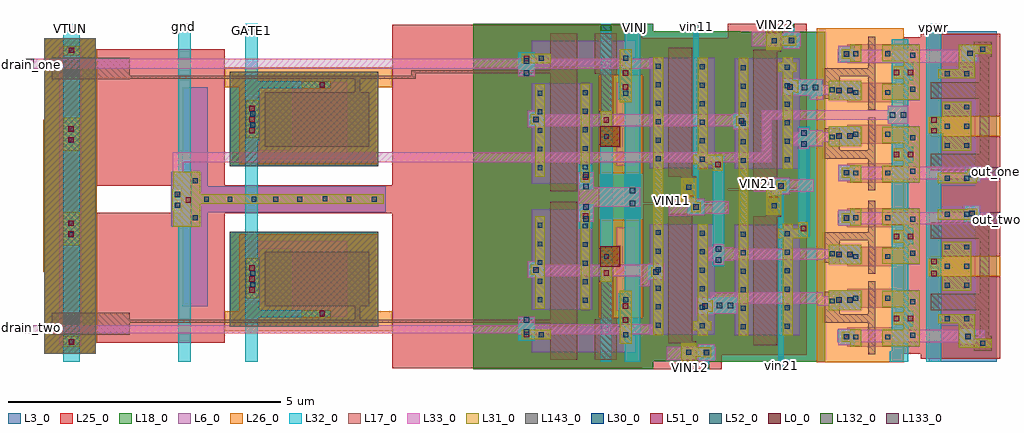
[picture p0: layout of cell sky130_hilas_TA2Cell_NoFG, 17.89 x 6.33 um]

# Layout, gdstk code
from math import pi, radians
import gdstk
lib = gdstk.Library(unit=1e-6, precision=1e-09)
def R(c, l, rs):  # rectangles x0, y0, x1, y1
    for r in rs: c.add(gdstk.rectangle(r[:2], r[2:], *l))
def A(c, l, x, y, w, h, nx, ny, dx, dy):  # array of equal rectangles
    R(c, l, [(x+i*dx, y+j*dy, x+i*dx+w, y+j*dy+h) for i in range(nx) for j in range(ny)])
L0_0 = (0, 0)
L3_0 = (3, 0)
L6_0 = (6, 0)
L17_0 = (17, 0)
L18_0 = (18, 0)
L25_0 = (25, 0)
L26_0 = (26, 0)
L30_0 = (30, 0)
L31_0 = (31, 0)
L32_0 = (32, 0)
L33_0 = (33, 0)
L51_0 = (51, 0)
L52_0 = (52, 0)
L132_0 = (132, 0)
L133_0 = (133, 0)
L143_0 = (143, 0)

sky130_hilas_tuncap01 = lib.new_cell('sky130_hilas_TunCap01')
R(sky130_hilas_tuncap01, L3_0, [(-14.03,-3.87,-13.09,-2.225)])
R(sky130_hilas_tuncap01, L6_0, [(-13.76,-3.71,-13.36,-2.385)])
R(sky130_hilas_tuncap01, L18_0, [(-14.03,-3.87,-13.09,-2.225)])
R(sky130_hilas_tuncap01, L26_0, [(-14.03,-3.87,-13.195,-2.225)])

m1_od_cdns_675983230083 = lib.new_cell('M1_OD_CDNS_675983230083')
R(m1_od_cdns_675983230083, L6_0, [(-0.075,-0.18,0.075,0.18)])
R(m1_od_cdns_675983230083, L30_0, [(-0.045,-0.15,0.045,-0.06), (-0.045,0.06,0.045,0.15)])
R(m1_od_cdns_675983230083, L31_0, [(-0.085,-0.19,0.085,0.19)])

m2_m1_cdns_675983230084 = lib.new_cell('M2_M1_CDNS_675983230084')
R(m2_m1_cdns_675983230084, L31_0, [(-0.09,-0.19,0.09,0.19)])
R(m2_m1_cdns_675983230084, L32_0, [(-0.09,-0.19,0.09,0.19)])
R(m2_m1_cdns_675983230084, L51_0, [(-0.05,-0.15,0.05,-0.05), (-0.05,0.05,0.05,0.15)])

sky130_hilas_wellcontact = lib.new_cell('sky130_hilas_wellContact')
R(sky130_hilas_wellcontact, L3_0, [(-14.125,-4.57,-13.185,-2.84)])
R(sky130_hilas_wellcontact, L6_0, [(-13.855,-4.05,-13.455,-3.31)])
R(sky130_hilas_wellcontact, L18_0, [(-14.125,-4.57,-13.185,-2.84)])
R(sky130_hilas_wellcontact, L26_0, [(-13.96,-4.175,-13.345,-3.185)])
R(sky130_hilas_wellcontact, L31_0, [(-13.78,-4,-13.48,-3.395)])
R(sky130_hilas_wellcontact, L32_0, [(-13.78,-4.515,-13.48,-2.84)])
sky130_hilas_wellcontact.add(gdstk.Reference(m1_od_cdns_675983230083, (-13.635,-3.7)))
sky130_hilas_wellcontact.add(gdstk.Reference(m2_m1_cdns_675983230084, (-13.635,-3.695)))

m2_m1_cdns_675983230085 = lib.new_cell('M2_M1_CDNS_675983230085')
R(m2_m1_cdns_675983230085, L31_0, [(-0.09,-0.29,0.09,0.29)])
R(m2_m1_cdns_675983230085, L32_0, [(-0.09,-0.29,0.09,0.29)])
A(m2_m1_cdns_675983230085, L51_0, -0.05, -0.25, 0.1, 0.1, 1, 3, 0, 0.2)

sky130_hilas_fgvaractorc = lib.new_cell('sky130_hilas_FGVaractorCapacitor02')
R(sky130_hilas_fgvaractorc, L3_0, [(-10.05,-3.8,-7.33,-2.065)])
R(sky130_hilas_fgvaractorc, L6_0, [(-8.9,-3.62,-7.9,-2.375), (-9.72,-3.37,-9.5,-2.375), (-9.72,-2.375,-7.9,-2.225)])
R(sky130_hilas_fgvaractorc, L17_0, [(-9.41,-3.425,-7.49,-2.425)])
R(sky130_hilas_fgvaractorc, L18_0, [(-10.05,-3.8,-7.33,-2.065)])
R(sky130_hilas_fgvaractorc, L26_0, [(-9.88,-3.64,-7.33,-2.105)])
R(sky130_hilas_fgvaractorc, L30_0, [(-8.4,-3.605,-8.31,-3.515)])
R(sky130_hilas_fgvaractorc, L31_0, [(-8.73,-3.63,-8.2,-3.495), (-9.75,-3.28,-9.52,-2.59)])
R(sky130_hilas_fgvaractorc, L32_0, [(-9.77,-3.63,-9.51,-3.31), (-9.765,-3.63,-8.2,-3.495), (-9.77,-3.33,-9.51,-2.54)])
R(sky130_hilas_fgvaractorc, L51_0, [(-8.405,-3.61,-8.305,-3.51)])
R(sky130_hilas_fgvaractorc, L143_0, [(-10.05,-3.8,-7.33,-2.065)])
sky130_hilas_fgvaractorc.add(gdstk.Reference(m1_od_cdns_675983230083, (-9.63,-2.93)))
sky130_hilas_fgvaractorc.add(gdstk.Reference(m2_m1_cdns_675983230085, (-9.64,-2.925)))

sky130_hilas_horiztransc = lib.new_cell('sky130_hilas_horizTransCell01')
R(sky130_hilas_horiztransc, L0_0, [(-1.3,2.21,-0.93,2.58)])
R(sky130_hilas_horiztransc, L3_0, [(-3.63,0.33,-0.33,3.59)])
R(sky130_hilas_horiztransc, L6_0, [(-2.56,0.64,-0.66,1.11), (-0.995,1.4,-0.665,2.935), (-2.56,1.42,-1.45,3.26)])
R(sky130_hilas_horiztransc, L17_0, [(-2.22,0.5,-1.72,1.23), (-1.4,0.5,-1,1.25), (-4.76,1.18,-1.72,1.24), (-2.22,1.205,-1.72,3.4), (-1.29,1.25,-1,1.27), (-1.29,1.27,-1.06,1.93), (-1.33,1.93,-1.06,2.22), (-1.33,2.22,-1.06,2.56)])
R(sky130_hilas_horiztransc, L25_0, [(-5.115,0.35,-0.53,1.27), (-5.115,1.27,-1.32,3.55)])
R(sky130_hilas_horiztransc, L26_0, [(-1.32,1.27,-0.535,3.065)])
A(sky130_hilas_horiztransc, L30_0, -1.62, 1.55, 0.09, 0.09, 1, 5, 0, 0.34)
A(sky130_hilas_horiztransc, L30_0, -2.45, 1.56, 0.09, 0.09, 1, 5, 0, 0.34)
R(sky130_hilas_horiztransc, L30_0, [(-2.425,0.92,-2.335,1.01), (-0.875,0.92,-0.785,1.01), (-0.875,1.555,-0.785,1.645), (-1.23,2.35,-1.14,2.44)])
R(sky130_hilas_horiztransc, L31_0, [(-0.94,0.8,-0.72,1.15), (-2.74,0.88,-2.21,1.05), (-0.94,1.15,-0.72,1.18), (-0.94,1.18,-0.72,1.76), (-1.66,1.43,-1.49,3.04), (-2.49,1.44,-2.32,3.13), (-0.94,1.76,-0.72,1.77), (-1.29,1.93,-1.09,1.94), (-1.29,1.94,-1.09,2.23), (-1.3,2.23,-1.06,2.56), (-1.66,3.04,-1.49,3.23)])
R(sky130_hilas_horiztransc, L32_0, [(-1.29,0.48,-1.1,1.93), (-0.85,0.48,-0.68,1.12), (-2.8,0.85,-2.5,1.29), (-0.96,1.12,-0.68,1.67), (-0.96,1.67,-0.68,1.72), (-0.85,1.72,-0.68,1.81), (-0.85,1.81,-0.68,3.5), (-1.29,1.93,-1.06,1.96), (-1.31,1.96,-1.06,2.23), (-1.3,2.23,-1.06,2.24), (-1.3,2.24,-1.07,2.48), (-1.3,2.48,-1.07,3.5), (-1.69,2.91,-1.45,3.29)])
R(sky130_hilas_horiztransc, L33_0, [(-2.8,0.96,-2.5,0.97), (-2.8,0.97,-0.33,1.15), (-2.8,1.15,-2.5,1.29)])
R(sky130_hilas_horiztransc, L51_0, [(-2.7,0.915,-2.6,1.015), (-0.885,1.185,-0.785,1.285), (-0.885,1.435,-0.785,1.535), (-1.24,2.045,-1.14,2.145), (-1.62,3.085,-1.52,3.185)])
R(sky130_hilas_horiztransc, L52_0, [(-2.7,0.965,-2.6,1.065), (-2.7,1.185,-2.6,1.285)])

m2_m1_cdns_675983230086 = lib.new_cell('M2_M1_CDNS_675983230086')
R(m2_m1_cdns_675983230086, L31_0, [(-0.09,-0.09,0.09,0.09)])
R(m2_m1_cdns_675983230086, L32_0, [(-0.115,-0.115,0.115,0.115)])
R(m2_m1_cdns_675983230086, L51_0, [(-0.05,-0.05,0.05,0.05)])

m3_m2_cdns_675983230087 = lib.new_cell('M3_M2_CDNS_675983230087')
R(m3_m2_cdns_675983230087, L32_0, [(-0.115,-0.115,0.115,0.115)])
R(m3_m2_cdns_675983230087, L33_0, [(-0.09,-0.09,0.09,0.09)])
R(m3_m2_cdns_675983230087, L52_0, [(-0.05,-0.05,0.05,0.05)])

sky130_hilas_li2m2 = lib.new_cell('sky130_hilas_li2m2')
R(sky130_hilas_li2m2, L32_0, [(-0.11,-0.125,0.19,0.175)])
R(sky130_hilas_li2m2, L33_0, [(-0.11,-0.125,0.19,0.175)])
sky130_hilas_li2m2.add(gdstk.Reference(m2_m1_cdns_675983230086, (0.04,0.02)))
sky130_hilas_li2m2.add(gdstk.Reference(m3_m2_cdns_675983230087, (0.04,0.02)))

sky130_hilas_fgbias2x1ce = lib.new_cell('sky130_hilas_FGBias2x1cell')
R(sky130_hilas_fgbias2x1ce, L3_0, [(-3.445,-2.42,-2.8,0), (6.61,2.19,6.8,2.22), (4.27,2.22,7.57,2.23)])
R(sky130_hilas_fgbias2x1ce, L6_0, [(5.38,-2.825,6.38,-1.07), (-1.06,-2.81,-0.59,-0.97), (-3.315,-2.42,-2.915,0), (-0.95,-1.08,2.67,-0.61), (-1.06,-0.72,-0.59,1.21)])
R(sky130_hilas_fgbias2x1ce, L17_0, [(-3.455,-3.325,-2.025,-2.925), (-3.15,-3.11,3.31,-3.05), (2.1,-3.095,2.2,-2.175), (2.1,0.485,2.2,1.42), (-3.455,1.35,-2.025,1.75), (-2.31,1.36,3.215,1.42), (3.14,1.36,3.215,1.52)])
R(sky130_hilas_fgbias2x1ce, L18_0, [(4.27,-3.96,7.57,2.37), (-3.585,-2.055,-2.645,-1.985)])
R(sky130_hilas_fgbias2x1ce, L25_0, [(-2.625,-3.475,-0.28,-1.095), (-1.08,-1.1,3.025,-0.59), (-2.625,-0.595,-0.28,1.9)])
R(sky130_hilas_fgbias2x1ce, L26_0, [(-2.75,-3.475,-2.625,-2.17), (-3.18,-2.545,-3,-2.155), (-2.75,-2.17,-2.645,-2.035), (-2.645,-2.17,-2.625,0.605), (-3.18,-2.155,-3,-1.865), (-3.585,-2.035,-2.645,0.46), (-3.18,-1.865,-3,0.125), (-2.75,0.46,-2.645,0.605), (-2.75,0.605,-2.625,1.9)])
R(sky130_hilas_fgbias2x1ce, L30_0, [(-0.87,-1.23,-0.78,-1.14), (-0.66,-0.89,-0.57,-0.8), (-0.23,-0.89,-0.14,-0.8), (0.21,-0.89,0.3,-0.8), (0.61,-0.89,0.7,-0.8), (1.05,-0.89,1.14,-0.8), (1.95,-0.89,2.04,-0.8), (2.41,-0.89,2.5,-0.8), (1.51,-0.88,1.6,-0.79), (-0.87,-0.55,-0.78,-0.46)])
R(sky130_hilas_fgbias2x1ce, L31_0, [(0.11,-1.97,0.34,-1.93), (-0.92,-1.35,-0.73,-0.93), (-1.11,-0.97,-0.92,-0.74), (-0.92,-0.93,2.63,-0.75), (-0.92,-0.75,-0.73,-0.34)])
R(sky130_hilas_fgbias2x1ce, L32_0, [(-3.24,-3.82,-2.94,2.23), (-1.13,-3.82,-0.9,2.23), (0.09,-3.82,0.32,2.23), (6.61,-3.82,6.8,-3.77), (7.05,-3.82,7.33,2.23), (6.2,-1.26,6.48,-0.94), (-1.13,-1,-0.9,-0.71), (7.05,-0.94,7.33,-0.62), (6.2,-0.66,6.48,-0.34), (6.61,2.19,6.8,2.23)])
R(sky130_hilas_fgbias2x1ce, L33_0, [(-3.96,-3.3,5.14,-3.2), (-3.96,-3.2,5.26,-3.15), (5.1,-3.15,5.26,-3.13), (5.53,-2.26,7.57,-2.05), (6.2,-1.26,6.48,-0.95), (6.2,-0.98,7.33,-0.63), (7.05,-0.91,7.33,-0.63), (6.2,-0.63,6.48,-0.35), (5.51,0.49,7.57,0.71), (-3.96,1.55,5.16,1.73)])
R(sky130_hilas_fgbias2x1ce, L51_0, [(-1,-0.905,-0.9,-0.805)])
R(sky130_hilas_fgbias2x1ce, L52_0, [(6.29,-1.26,6.39,-1.16), (6.29,-1.04,6.39,-0.94), (7.14,-0.975,7.24,-0.875), (7.14,-0.735,7.24,-0.635), (6.29,-0.66,6.39,-0.56), (6.29,-0.455,6.39,-0.355)])
sky130_hilas_fgbias2x1ce.add(gdstk.Reference(sky130_hilas_tuncap01, (10.445,0.19)))
sky130_hilas_fgbias2x1ce.add(gdstk.Reference(sky130_hilas_tuncap01, (10.445,4.33)))
sky130_hilas_fgbias2x1ce.add(gdstk.Reference(sky130_hilas_wellcontact, (10.54,2.31)))
sky130_hilas_fgbias2x1ce.add(gdstk.Reference(sky130_hilas_wellcontact, (10.54,4.04)))
sky130_hilas_fgbias2x1ce.add(gdstk.Reference(sky130_hilas_fgvaractorc, (9.86,0.62)))
sky130_hilas_fgbias2x1ce.add(gdstk.Reference(sky130_hilas_fgvaractorc, (9.86,-2.31), x_reflection=True))
sky130_hilas_fgbias2x1ce.add(gdstk.Reference(sky130_hilas_horiztransc, (7.9,-4.29)))
sky130_hilas_fgbias2x1ce.add(gdstk.Reference(sky130_hilas_horiztransc, (7.9,2.7), x_reflection=True))
sky130_hilas_fgbias2x1ce.add(gdstk.Reference(sky130_hilas_li2m2, (5.38,0.6)))
sky130_hilas_fgbias2x1ce.add(gdstk.Reference(sky130_hilas_li2m2, (5.38,-2.16)))

sky130_hilas_ptransistor = lib.new_cell('sky130_hilas_pTransistorVert01')
R(sky130_hilas_ptransistor, L3_0, [(-3.765,-4.44,-1.63,-1.45)])
R(sky130_hilas_ptransistor, L6_0, [(-3.29,-3.96,-2.1,-1.93), (-3.245,-3.925,-2.165,-1.975)])
R(sky130_hilas_ptransistor, L17_0, [(-2.95,-4.11,-2.51,-1.75)])
R(sky130_hilas_ptransistor, L25_0, [(-3.42,-4.59,-1.97,-1.57)])
A(sky130_hilas_ptransistor, L30_0, -2.37, -3.84, 0.09, 0.09, 1, 6, 0, 0.34)
A(sky130_hilas_ptransistor, L30_0, -3.18, -3.83, 0.09, 0.09, 1, 6, 0, 0.34)
R(sky130_hilas_ptransistor, L31_0, [(-2.41,-3.98,-2.23,-1.93), (-3.22,-3.97,-3.04,-1.92), (-2.49,-3.88,-2.16,-3.71), (-2.41,-3.71,-2.24,-1.93)])

m3_m2_cdns_675983230082 = lib.new_cell('M3_M2_CDNS_675983230082')
R(m3_m2_cdns_675983230082, L32_0, [(-0.19,-0.09,0.19,0.09)])
R(m3_m2_cdns_675983230082, L33_0, [(-0.19,-0.09,0.19,0.09)])
R(m3_m2_cdns_675983230082, L52_0, [(-0.15,-0.05,-0.05,0.05), (0.05,-0.05,0.15,0.05)])

m3_m2_cdns_675983230088 = lib.new_cell('M3_M2_CDNS_675983230088')
R(m3_m2_cdns_675983230088, L32_0, [(-0.09,-0.19,0.09,0.19)])
R(m3_m2_cdns_675983230088, L33_0, [(-0.09,-0.19,0.09,0.19)])
R(m3_m2_cdns_675983230088, L52_0, [(-0.05,-0.15,0.05,-0.05), (-0.05,0.05,0.05,0.15)])

c_sky130_hilas_ptransistor = lib.new_cell('sky130_hilas_pTransistorPair')
R(c_sky130_hilas_ptransistor, L3_0, [(2.67,-1.69,3.12,-1.46), (1.195,-1.4,3.33,-1.33)])
R(c_sky130_hilas_ptransistor, L17_0, [(2.25,-4.395,2.52,-4.025), (2.27,-4.07,2.48,-4.06), (2.25,-1.37,2.52,-1)])
R(c_sky130_hilas_ptransistor, L18_0, [(1.195,-4.39,3.33,1.65)])
R(c_sky130_hilas_ptransistor, L30_0, [(2.345,-4.275,2.435,-4.185), (2.345,-1.25,2.435,-1.16)])
R(c_sky130_hilas_ptransistor, L31_0, [(2.25,-4.485,2.52,-4.355), (2.25,-4.395,2.52,-4.065), (2.49,-4.31,2.655,-4.135), (2.73,-3.49,2.83,-3.465), (2.55,-3.465,2.83,-3.29), (2.79,-3.29,2.83,-3.28), (1.74,-1.92,1.92,-0.86), (2.25,-1.525,2.52,-1.33), (2.25,-1.37,2.52,-1.04), (2.83,-0.9,3.01,-0.67), (2.79,-0.78,2.87,-0.7), (2.79,-0.7,3.01,-0.61)])
R(c_sky130_hilas_ptransistor, L32_0, [(2.84,-3.525,3.27,-3.225), (2.83,-2.65,3.04,-0.88), (2.83,-2.54,3.04,-2.22), (2.83,-0.93,3.04,-0.64)])
R(c_sky130_hilas_ptransistor, L33_0, [(2.01,-4.37,2.88,-4.13), (2.55,-3.525,3.27,-3.225), (2.73,-2.555,3.2,-2.305), (2.83,-2.555,3.065,-2.305), (2.25,-1.69,3.12,-1.46)])
R(c_sky130_hilas_ptransistor, L51_0, [(2.875,-0.835,2.975,-0.735)])
c_sky130_hilas_ptransistor.add(gdstk.Reference(sky130_hilas_li2m2, (1.75,-2.78)))
c_sky130_hilas_ptransistor.add(gdstk.Reference(sky130_hilas_li2m2, (2.75,-4.21), rotation=pi))
c_sky130_hilas_ptransistor.add(gdstk.Reference(sky130_hilas_li2m2, (2.48,-1.59)))
c_sky130_hilas_ptransistor.add(gdstk.Reference(sky130_hilas_li2m2, (2.72,-3.365), rotation=pi))
c_sky130_hilas_ptransistor.add(gdstk.Reference(sky130_hilas_ptransistor, (4.96,0.05)))
c_sky130_hilas_ptransistor.add(gdstk.Reference(sky130_hilas_ptransistor, (4.96,3.1)))
c_sky130_hilas_ptransistor.add(gdstk.Reference(m3_m2_cdns_675983230082, (3.05,-3.375)))
c_sky130_hilas_ptransistor.add(gdstk.Reference(m3_m2_cdns_675983230088, (2.935,-2.44)))

sky130_hilas_pfetmirror0 = lib.new_cell('sky130_hilas_pFETmirror02')
R(sky130_hilas_pfetmirror0, L3_0, [(-0.58,0.89,0.67,3.73)])
R(sky130_hilas_pfetmirror0, L6_0, [(-0.4,1.36,0.28,2.24), (-0.4,2.24,0.28,2.65), (-0.4,2.65,0.28,3.54)])
R(sky130_hilas_pfetmirror0, L17_0, [(0.25,0.9,0.58,1.17), (0.36,1.12,0.53,1.64), (-0.54,1.64,0.53,1.94), (0.36,1.94,0.53,2.95), (-0.54,2.95,0.53,3.25)])
R(sky130_hilas_pfetmirror0, L25_0, [(-0.72,0.75,0.73,2.26), (-0.72,2.63,0.73,3.67)])
R(sky130_hilas_pfetmirror0, L26_0, [(-0.54,2.26,0.73,2.63)])
R(sky130_hilas_pfetmirror0, L30_0, [(0.37,0.99,0.46,1.08), (-0.285,1.44,-0.195,1.53), (0.075,1.44,0.165,1.53), (-0.285,2.05,-0.195,2.14), (0.075,2.05,0.165,2.14), (-0.285,2.4,-0.195,2.49), (0.075,2.4,0.165,2.49), (-0.285,2.755,-0.195,2.845), (0.075,2.755,0.165,2.845), (-0.285,3.355,-0.195,3.445), (0.075,3.355,0.165,3.445)])
R(sky130_hilas_pfetmirror0, L31_0, [(-0.03,0.95,0.27,1.12), (0.25,0.95,0.58,1.12), (-0.03,1.12,0.27,1.4), (-0.4,1.4,0.27,1.57), (-0.325,2,0.205,2.895), (-0.41,3.3,0.295,3.49)])

sky130_hilas_nfet03 = lib.new_cell('sky130_hilas_nFET03')
R(sky130_hilas_nfet03, L6_0, [(-0.31,-0.06,0.58,0.29), (0.1,0,0.4,0.2)])
R(sky130_hilas_nfet03, L17_0, [(0.07,-0.2,0.2,0.43), (0.1,0.1,0.2,0.2)])
R(sky130_hilas_nfet03, L26_0, [(-0.44,-0.36,0.725,0.58)])
R(sky130_hilas_nfet03, L30_0, [(-0.205,0.07,-0.115,0.16), (0.385,0.07,0.475,0.16)])
R(sky130_hilas_nfet03, L31_0, [(-0.26,-0.03,-0.06,0.28), (0.33,-0.02,0.53,0.28), (-0.2,0.1,-0.1,0.2), (0.4,0.1,0.5,0.2)])
sky130_hilas_nfet03.add(gdstk.Label('VGND', (0.5,-0.7), layer=6, texttype=0))
sky130_hilas_nfet03.add(gdstk.Label('GATE', (0.1,0.5), layer=17, texttype=0))
sky130_hilas_nfet03.add(gdstk.Label('SOURCE', (0.9,0.4), layer=31, texttype=0))
sky130_hilas_nfet03.add(gdstk.Label('DRAIN', (-0.6,0.4), layer=31, texttype=0))

m2_m1_cdns_675983230089 = lib.new_cell('M2_M1_CDNS_675983230089')
R(m2_m1_cdns_675983230089, L31_0, [(-0.19,-0.09,0.19,0.09)])
R(m2_m1_cdns_675983230089, L32_0, [(-0.19,-0.09,0.19,0.09)])
R(m2_m1_cdns_675983230089, L51_0, [(-0.15,-0.05,-0.05,0.05), (0.05,-0.05,0.15,0.05)])

sky130_hilas_nmirror03 = lib.new_cell('sky130_hilas_nMirror03')
R(sky130_hilas_nmirror03, L6_0, [(-0.045,0.07,0.995,0.08), (0.99,0.07,1.28,1.1), (0.84,0.08,0.99,1.09), (-0.045,1.09,0.995,1.1)])
R(sky130_hilas_nmirror03, L17_0, [(0.335,-0.07,0.465,-0.05), (0.335,0.07,0.465,0.08), (-0.46,0.1,-0.19,0.43), (-0.46,0.43,-0.19,0.51), (-0.46,0.51,0.285,0.56), (-0.46,0.51,0.465,0.66), (0.335,1.09,0.465,1.1), (0.335,1.22,0.465,1.24)])
R(sky130_hilas_nmirror03, L25_0, [(0.99,-0.06,1.3,1.23)])
R(sky130_hilas_nmirror03, L26_0, [(-0.61,-0.22,-0.175,1.39), (-0.175,-0.055,0.99,0.205), (0.715,0.205,0.99,0.555), (-0.175,0.555,0.99,0.615), (0.715,0.615,0.99,0.965), (-0.175,0.965,0.99,1.225)])
R(sky130_hilas_nmirror03, L30_0, [(-0.37,0.22,-0.28,0.31), (1.105,0.23,1.195,0.32), (1.105,0.85,1.195,0.94)])
R(sky130_hilas_nmirror03, L31_0, [(-0.385,0.07,0.205,0.43), (0.79,0.08,1.28,0.38), (-0.385,0.1,-0.165,0.43), (0.99,0.12,1.28,1.09), (0.8,0.47,0.99,0.7), (0.79,0.79,1.28,1.09)])
R(sky130_hilas_nmirror03, L32_0, [(-0.385,0.07,0.205,0.43), (0.78,0.44,1.16,0.74), (0.78,0.44,1.08,0.74)])
R(sky130_hilas_nmirror03, L33_0, [(-0.385,0.07,0.205,0.43), (-0.59,0.175,-0.22,0.35)])
R(sky130_hilas_nmirror03, L51_0, [(0.8,0.535,0.9,0.635), (1.06,0.535,1.16,0.635)])
sky130_hilas_nmirror03.add(gdstk.Reference(sky130_hilas_li2m2, (-0.1,0.9)))
sky130_hilas_nmirror03.add(gdstk.Reference(sky130_hilas_nfet03, (0.265,0.81)))
sky130_hilas_nmirror03.add(gdstk.Reference(sky130_hilas_nfet03, (0.265,0.1)))
sky130_hilas_nmirror03.add(gdstk.Reference(m2_m1_cdns_675983230089, (-0.1,0.25)))
sky130_hilas_nmirror03.add(gdstk.Reference(m3_m2_cdns_675983230082, (-0.1,0.25)))

sky130_hilas_dualtacore0 = lib.new_cell('sky130_hilas_DualTACore01')
R(sky130_hilas_dualtacore0, L25_0, [(0.265,0.125,0.34,1.025), (-0.15,1.025,0.34,1.245), (0.16,1.245,0.34,2.525), (-0.15,2.525,0.355,2.555), (-0.15,2.555,1.61,2.685), (-0.15,2.685,0.355,2.745), (0.16,2.745,0.34,4.025), (-0.15,4.025,0.34,4.245), (0.265,4.245,0.34,5.115)])
A(sky130_hilas_dualtacore0, L26_0, -1.315, 1.025, 1.165, 0.22, 1, 3, 0, 1.5)
R(sky130_hilas_dualtacore0, L31_0, [(0.305,1.15,0.59,1.47), (0.305,3.77,0.57,4.07)])
R(sky130_hilas_dualtacore0, L32_0, [(-0.37,-0.22,-0.07,5.5), (0.26,-0.21,0.53,5.49), (0.285,1.15,0.515,1.47), (0.285,3.77,0.515,4.07)])
R(sky130_hilas_dualtacore0, L33_0, [(-1.37,-0.06,1.34,0.17), (-1.36,2.11,1.55,2.33), (-1.1,2.93,1.55,3.16), (-1.36,5.07,1.19,5.3)])
R(sky130_hilas_dualtacore0, L51_0, [(0.35,1.15,0.45,1.25), (0.35,1.37,0.45,1.47), (0.35,3.77,0.45,3.87), (0.35,3.97,0.45,4.07)])
sky130_hilas_dualtacore0.add(gdstk.Reference(sky130_hilas_li2m2, (1.07,3)))
sky130_hilas_dualtacore0.add(gdstk.Reference(sky130_hilas_li2m2, (1.02,5.22)))
sky130_hilas_dualtacore0.add(gdstk.Reference(sky130_hilas_li2m2, (1.06,2.28)))
sky130_hilas_dualtacore0.add(gdstk.Reference(sky130_hilas_li2m2, (0.98,0.03)))
sky130_hilas_dualtacore0.add(gdstk.Reference(sky130_hilas_pfetmirror0, (0.88,6.35), x_reflection=True))
sky130_hilas_dualtacore0.add(gdstk.Reference(sky130_hilas_pfetmirror0, (0.88,-1.11)))
sky130_hilas_dualtacore0.add(gdstk.Reference(sky130_hilas_nmirror03, (-1.14,4.305)))
sky130_hilas_dualtacore0.add(gdstk.Reference(sky130_hilas_nmirror03, (-1.14,3.97), x_reflection=True))
sky130_hilas_dualtacore0.add(gdstk.Reference(sky130_hilas_nmirror03, (-1.14,1.3)))
sky130_hilas_dualtacore0.add(gdstk.Reference(sky130_hilas_nmirror03, (-1.14,0.965), x_reflection=True))

m2_m1_cdns_675983230080 = lib.new_cell('M2_M1_CDNS_675983230080')
R(m2_m1_cdns_675983230080, L31_0, [(-0.09,-0.19,0.09,0.19)])
R(m2_m1_cdns_675983230080, L32_0, [(-0.115,-0.215,0.115,0.215)])
R(m2_m1_cdns_675983230080, L51_0, [(-0.05,-0.15,0.05,-0.05), (-0.05,0.05,0.05,0.15)])

m3_m2_cdns_675983230081 = lib.new_cell('M3_M2_CDNS_675983230081')
R(m3_m2_cdns_675983230081, L32_0, [(-0.115,-0.215,0.115,0.215)])
R(m3_m2_cdns_675983230081, L33_0, [(-0.09,-0.19,0.09,0.19)])
R(m3_m2_cdns_675983230081, L52_0, [(-0.05,-0.15,0.05,-0.05), (-0.05,0.05,0.05,0.15)])

sky130_hilas_ta2cell_nof = lib.new_cell('sky130_hilas_TA2Cell_NoFG')
R(sky130_hilas_ta2cell_nof, L3_0, [(16.575,0.14,17.825,0.33), (11.815,2.84,12.095,3.08), (11.355,4.45,13.015,4.67), (16.575,6.01,17.825,6.19)])
R(sky130_hilas_ta2cell_nof, L25_0, [(11.235,0.02,11.335,0.94), (12.785,0.26,12.895,6.07), (11.235,5.39,11.335,6.07)])
R(sky130_hilas_ta2cell_nof, L26_0, [(1.21,0.28,1.315,0.485), (3.68,0.7,6.745,1.06), (0.355,1.79,1.26,1.85), (1.21,1.79,1.315,5.855), (0.355,1.85,1.26,4.46), (0.355,4.46,1.21,4.57), (3.68,5.17,6.745,5.53), (1.21,5.855,1.315,6.065)])
R(sky130_hilas_ta2cell_nof, L30_0, [(0.825,0.455,0.915,0.545), (0.825,5.8,0.915,5.89)])
R(sky130_hilas_ta2cell_nof, L31_0, [(12.045,0.055,12.315,0.14), (0.72,0.41,1.02,0.6), (2.735,2.61,3.195,3.62), (17.45,3.41,17.455,3.465), (14.085,5.255,14.185,5.295), (0.72,5.75,1.02,5.915), (13.605,6.14,13.875,6.27)])
R(sky130_hilas_ta2cell_nof, L32_0, [(15.865,0.14,16.205,0.33), (16.535,0.14,16.805,0.35), (2.695,2.61,3.075,3.62), (15.825,4.5,16.2,4.83), (15.905,4.53,16.165,4.79), (0.72,5.945,1.02,6.33), (11.015,5.975,11.285,6.175), (16.535,6.04,16.805,6.19), (10.57,6.05,10.76,6.19), (16.535,6.06,16.805,6.19), (4.05,6.075,4.28,6.33), (2.83,6.19,3.06,6.33), (10.57,6.19,10.76,6.33), (11.01,6.19,11.29,6.33), (16.535,6.19,16.805,6.33)])
R(sky130_hilas_ta2cell_nof, L33_0, [(11.775,0.16,12.035,0.41), (0,0.66,0.09,0.81), (0,0.66,0.06,0.81), (12.575,1.2,14.635,1.41), (11.295,1.52,11.455,1.92), (12.865,2.01,14.635,2.21), (2.705,2.62,3.055,3.61), (17.675,2.66,17.815,2.88), (17.675,2.66,17.885,2.88), (11.815,2.81,12.145,3.08), (11.82,2.81,12.07,3.08), (13.375,3.25,13.625,3.48), (13.38,3.25,13.61,3.48), (17.675,3.48,17.885,3.7), (17.675,3.48,17.82,3.705), (2.725,3.61,2.915,3.79), (2.725,3.79,13.705,3.98), (13.515,3.98,13.705,4.57), (14.38,4.09,14.635,4.38), (11.355,4.45,13.015,4.67), (15.825,4.5,16.205,4.57), (13.515,4.57,16.205,4.75), (15.825,4.75,16.205,4.83), (14.395,4.94,14.645,5.315), (0,5.51,0.055,5.69), (0,5.51,0.09,5.69), (13.335,5.92,13.585,6.18)])
R(sky130_hilas_ta2cell_nof, L51_0, [(0.82,0.45,0.92,0.55), (0.82,5.795,0.92,5.895)])
R(sky130_hilas_ta2cell_nof, L132_0, [(12.455,0.015,12.555,0.085), (13.825,0.02,13.925,0.1), (0.72,6.205,1.02,6.31), (4.05,6.205,4.28,6.305), (10.57,6.205,10.76,6.31), (11.01,6.205,11.29,6.315), (16.535,6.21,16.805,6.315), (2.83,6.22,3.06,6.31), (12.265,6.245,12.365,6.315), (14.015,6.255,14.115,6.32)])
R(sky130_hilas_ta2cell_nof, L133_0, [(0,0.66,0.17,0.81), (17.71,2.66,17.885,2.88), (17.695,3.48,17.885,3.7), (0,5.51,0.175,5.69)])
R(sky130_hilas_ta2cell_nof, L143_0, [(0.375,0.28,1.315,6.065)])
sky130_hilas_ta2cell_nof.add(gdstk.FlexPath([(13.875,3.36),(13.875,0)], 0.1, ends="flush", simple_path=True, layer=32, datatype=0))  # L32_0
sky130_hilas_ta2cell_nof.add(gdstk.FlexPath([(14.065,6.02),(14.065,6.33)], 0.1, ends="flush", simple_path=True, layer=32, datatype=0))  # L32_0
sky130_hilas_ta2cell_nof.add(gdstk.FlexPath([(12.315,2.97),(12.315,6.33)], 0.1, ends="flush", simple_path=True, layer=32, datatype=0))  # L32_0
sky130_hilas_ta2cell_nof.add(gdstk.FlexPath([(12.505,0.31),(12.505,0)], 0.1, ends="flush", simple_path=True, layer=32, datatype=0))  # L32_0
sky130_hilas_ta2cell_nof.add(gdstk.Reference(sky130_hilas_fgbias2x1ce, (3.96,3.96)))
sky130_hilas_ta2cell_nof.add(gdstk.Reference(c_sky130_hilas_ptransistor, (9.795,4.54)))
sky130_hilas_ta2cell_nof.add(gdstk.Reference(c_sky130_hilas_ptransistor, (11.355,1.79), x_reflection=True))
sky130_hilas_ta2cell_nof.add(gdstk.Reference(sky130_hilas_dualtacore0, (16.275,0.55)))
sky130_hilas_ta2cell_nof.add(gdstk.Reference(m2_m1_cdns_675983230080, (2.81,3.105)))
sky130_hilas_ta2cell_nof.add(gdstk.Reference(m3_m2_cdns_675983230081, (2.81,3.105)))
sky130_hilas_ta2cell_nof.add(gdstk.Reference(m3_m2_cdns_675983230082, (16.015,4.66)))
sky130_hilas_ta2cell_nof.add(gdstk.Label('VIN12', (12.205,0.035), layer=31, texttype=0))
sky130_hilas_ta2cell_nof.add(gdstk.Label('VIN22', (13.77,6.32), layer=31, texttype=0))
sky130_hilas_ta2cell_nof.add(gdstk.Label('GATE1', (4.17,6.215), layer=32, texttype=0))
sky130_hilas_ta2cell_nof.add(gdstk.Label('VTUN', (0.855,6.24), layer=32, texttype=0))
sky130_hilas_ta2cell_nof.add(gdstk.Label('VINJ', (11.21,6.265), layer=32, texttype=0))
sky130_hilas_ta2cell_nof.add(gdstk.Label('COLSEL1', (10.54,6.26), layer=32, texttype=0))
sky130_hilas_ta2cell_nof.add(gdstk.Label('VIN21', (13.46,3.395), layer=33, texttype=0))
sky130_hilas_ta2cell_nof.add(gdstk.Label('VIN11', (11.88,3.09), layer=33, texttype=0))
sky130_hilas_ta2cell_nof.add(gdstk.Label('out_two', (17.815,2.735), layer=133, texttype=0))
sky130_hilas_ta2cell_nof.add(gdstk.Label('out_one', (17.8,3.62), layer=133, texttype=0))
sky130_hilas_ta2cell_nof.add(gdstk.Label('drain_two', (0.085,0.765), layer=133, texttype=0))
sky130_hilas_ta2cell_nof.add(gdstk.Label('drain_one', (0.065,5.575), layer=133, texttype=0))
sky130_hilas_ta2cell_nof.add(gdstk.Label('vin22', (14.075,6.28), layer=132, texttype=0))
sky130_hilas_ta2cell_nof.add(gdstk.Label('vin21', (13.885,0.06), layer=132, texttype=0))
sky130_hilas_ta2cell_nof.add(gdstk.Label('vin12', (12.515,0.065), layer=132, texttype=0))
sky130_hilas_ta2cell_nof.add(gdstk.Label('vin11', (12.325,6.28), layer=132, texttype=0))
sky130_hilas_ta2cell_nof.add(gdstk.Label('vpwr', (16.675,6.26), layer=132, texttype=0))
sky130_hilas_ta2cell_nof.add(gdstk.Label('vinj', (11.145,6.275), layer=132, texttype=0))
sky130_hilas_ta2cell_nof.add(gdstk.Label('colsel', (10.665,6.27), layer=132, texttype=0))
sky130_hilas_ta2cell_nof.add(gdstk.Label('gate', (4.175,6.265), layer=132, texttype=0))
sky130_hilas_ta2cell_nof.add(gdstk.Label('gnd', (2.93,6.275), layer=132, texttype=0))
sky130_hilas_ta2cell_nof.add(gdstk.Label('vtun', (0.875,6.29), layer=132, texttype=0))

lib.write_gds('sky130_hilas_TA2Cell_NoFG.gds')
